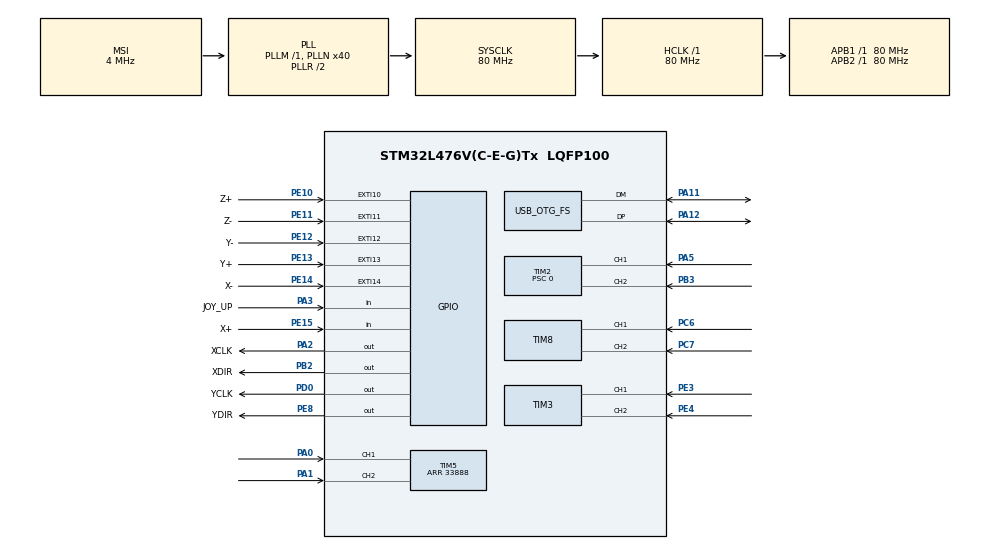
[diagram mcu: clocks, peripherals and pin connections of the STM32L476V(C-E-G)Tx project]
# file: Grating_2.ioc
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Mcu.Family=STM32L4
USB_DEVICE.CLASS_NAME_FS=CDC
RCC.CortexFreq_Value=80000000
PH0-OSC_IN\ (PH0).Signal=RCC_OSC_IN
PE11.GPIO_Label=Z-
TIM5.EncoderMode=TIM_ENCODERMODE_TI12
PE8.GPIO_PuPd=GPIO_NOPULL
PA3.GPIO_PuPd=GPIO_PULLDOWN
PB2.GPIO_Speed=GPIO_SPEED_FREQ_VERY_HIGH
PB7.GPIO_FM7=I2C_FASTMODEPLUS_PB7
SH.S_TIM5_CH2.0=TIM5_CH2,Encoder_Interface
PA2.GPIO_Speed=GPIO_SPEED_FREQ_VERY_HIGH
PD0.GPIO_Label=YCLK
PA11.Mode=Device_Only
TIM2.EncoderMode=TIM_ENCODERMODE_TI12
RCC.SYSCLKSource=RCC_SYSCLKSOURCE_PLLCLK
ProjectManager.StackSize=0x400
PB3\ (JTDO-TRACESWO).Signal=S_TIM2_CH2
VP_FREERTOS_VS_CMSIS_V2.Mode=CMSIS_V2
PA14\ (JTCK-SWCLK).Signal=SYS_JTCK-SWCLK
PA12.Signal=USB_OTG_FS_DP
TIM1.Prescaler=79
RCC.HCLKFreq_Value=80000000
RCC.APB2TimFreq_Value=80000000
PB6.Signal=S_TIM4_CH1
PC7.Signal=S_TIM8_CH2
PD0.Signal=GPIO_Output
RCC.AHBFreq_Value=80000000
NVIC.EXTI15_10_IRQn=true\:5\:0\:false\:false\:true\:true\:true\:true
PH1-OSC_OUT\ (PH1).Mode=HSE-External-Oscillator
RCC.HSE_VALUE=8000000
PB2.Signal=GPIO_Output
NVIC.TIM1_TRG_COM_TIM17_IRQn=true\:5\:0\:false\:false\:true\:true\:true\:true
PE13.Signal=GPXTI13
NVIC.TIM2_IRQn=true\:5\:0\:false\:false\:true\:true\:true\:true
SH.S_TIM4_CH2.0=TIM4_CH2
PB7.Signal=S_TIM4_CH2
SH.S_TIM3_CH1.0=TIM3_CH1,Encoder_Interface
PE12.GPIO_ModeDefaultEXTI=GPIO_MODE_IT_RISING_FALLING
PE10.Signal=GPXTI10
PE4.Signal=S_TIM3_CH2
PB2.GPIO_PuPd=GPIO_NOPULL
VP_TIM1_VS_ClockSourceINT.Mode=Internal
PA0.Signal=S_TIM5_CH1
Mcu.Package=LQFP100
TIM2.Prescaler=0
PB6.GPIO_FM6=__NULL
NVIC.OTG_FS_IRQn=true\:5\:0\:false\:false\:true\:true\:true\:true
PA2.GPIO_Label=XCLK
USB_OTG_FS.VirtualMode=Device_Only
PE12.GPIO_Label=Y-
PE8.GPIO_Speed=GPIO_SPEED_FREQ_VERY_HIGH
SH.S_TIM4_CH1.0=TIM4_CH1
RCC.APB1TimFreq_Value=80000000
SH.S_TIM5_CH1.0=TIM5_CH1,Encoder_Interface
TIM1.Period=49
PA13\ (JTMS-SWDIO).Signal=SYS_JTMS-SWDIO
PE10.GPIO_Label=Z+
PH0-OSC_IN\ (PH0).Mode=HSE-External-Oscillator
RCC.PLLSAI1N=24
PA3.Signal=GPIO_Input
RCC.MSI_VALUE=4000000
PA14\ (JTCK-SWCLK).Mode=Serial_Wire
SH.S_TIM2_CH1.0=TIM2_CH1,Encoder_Interface
FREERTOS.Tasks01=defaultTask,24,128,StartDefaultTask,Default,NULL,Dynamic,NULL,NULL;myTask02,8,128,StartTask02,Default,NULL,Dynamic,NULL,NULL;myTask03,8,128,StartTask03,Default,NULL,Dynamic,NULL,NULL
USB_DEVICE.VirtualModeFS=Cdc_FS
PC6.Signal=S_TIM8_CH1
PE14.GPIO_Label=X-
SH.S_TIM8_CH2.0=TIM8_CH2,Encoder_Interface
PH1-OSC_OUT\ (PH1).Signal=RCC_OSC_OUT
TIM5.AutoReloadPreload=TIM_AUTORELOAD_PRELOAD_ENABLE
PD0.GPIO_Speed=GPIO_SPEED_FREQ_VERY_HIGH
TIM1.AutoReloadPreload=TIM_AUTORELOAD_PRELOAD_ENABLE
SH.S_TIM2_CH2.0=TIM2_CH2,Encoder_Interface
PE11.GPIO_ModeDefaultEXTI=GPIO_MODE_IT_RISING_FALLING
PE10.GPIO_ModeDefaultEXTI=GPIO_MODE_IT_RISING_FALLING
PE15.GPIO_Label=X+
ProjectManager.TargetToolchain=STM32CubeIDE
VP_USB_DEVICE_VS_USB_DEVICE_CDC_FS.Mode=CDC_FS
PE8.GPIO_Label=YDIR
RCC.USBFreq_Value=48000000
PE11.Signal=GPXTI11
RCC.LSE_VALUE=32768
PA1.Signal=S_TIM5_CH2
PA5.Signal=S_TIM2_CH1
SH.S_TIM3_CH2.0=TIM3_CH2,Encoder_Interface
SH.S_TIM8_CH1.0=TIM8_CH1,Encoder_Interface
NVIC.TIM1_BRK_TIM15_IRQn=true\:5\:0\:false\:false\:true\:true\:true\:true
board=custom
RCC.VCOOutputFreq_Value=160000000
PE13.GPIO_ModeDefaultEXTI=GPIO_MODE_IT_RISING_FALLING
RCC.APB2Freq_Value=80000000
PE14.Signal=GPXTI14
PE15.Signal=GPIO_Input
PE8.Signal=GPIO_Output
RCC.ADCFreq_Value=48000000
TIM2.Period=33888
Mcu.Name=STM32L476V(C-E-G)Tx
PE12.Signal=GPXTI12
PA2.Signal=GPIO_Output
PA13\ (JTMS-SWDIO).Mode=Serial_Wire
RCC.SYSCLKFreq_VALUE=80000000
PE13.GPIO_Label=Y+
PA12.Mode=Device_Only
PA11.Signal=USB_OTG_FS_DM
PB2.GPIO_Label=XDIR
PE15.GPIO_PuPd=GPIO_NOPULL
ProjectManager.HeapSize=0x200
RCC.HSI_VALUE=16000000
NVIC.TIM1_UP_TIM16_IRQn=true\:5\:0\:false\:false\:true\:true\:true\:true
NVIC.PriorityGroup=NVIC_PRIORITYGROUP_4
RCC.PLLN=40
PE3.Signal=S_TIM3_CH1
TIM2.AutoReloadPreload=TIM_AUTORELOAD_PRELOAD_ENABLE
TIM5.Period=33888
RCC.APB1Freq_Value=80000000
USB_DEVICE.VirtualMode=Cdc
PA3.GPIO_Label=JOY_UP

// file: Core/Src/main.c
/* USER CODE BEGIN Header */
/**
  ******************************************************************************
  * @file           : main.c
  * @brief          : Main program body
  ******************************************************************************
  * @attention
  *
  * <h2><center>&copy; Copyright (c) 2021 STMicroelectronics.
  * All rights reserved.</center></h2>
  *
  * This software component is licensed by ST under BSD 3-Clause license,
  * the "License"; You may not use this file except in compliance with the
  * License. You may obtain a copy of the License at:
  *                        opensource.org/licenses/BSD-3-Clause
  *
  ******************************************************************************
  */
/* USER CODE END Header */
#include "main.h"
#include "cmsis_os.h"
#include "usb_device.h"

/* USER CODE BEGIN Includes */
#include "usbd_cdc_if.h"
#include "string.h"
/* USER CODE END Includes */

TIM_HandleTypeDef htim1;
TIM_HandleTypeDef htim2;
TIM_HandleTypeDef htim3;
TIM_HandleTypeDef htim5;
TIM_HandleTypeDef htim8;

/* Definitions for defaultTask */
osThreadId_t defaultTaskHandle;
const osThreadAttr_t defaultTask_attributes = {
  .name = "defaultTask",
  .stack_size = 128 * 4,
  .priority = (osPriority_t) osPriorityNormal,
};
/* Definitions for myTask02 */
osThreadId_t myTask02Handle;
const osThreadAttr_t myTask02_attributes = {
  .name = "myTask02",
  .stack_size = 128 * 4,
  .priority = (osPriority_t) osPriorityLow,
};
/* Definitions for myTask03 */
osThreadId_t myTask03Handle;
const osThreadAttr_t myTask03_attributes = {
  .name = "myTask03",
  .stack_size = 128 * 4,
  .priority = (osPriority_t) osPriorityLow,
};
/* USER CODE BEGIN PV */
int cnt,cnt_old ;
int tim4Cnt,tim5Cnt,tim2Cnt;
int feedback;
int laps=0;
uint8_t Xpos,Xneg,Ypos,Yneg,Zpos,Zneg;

extern volatile int32_t xPul;
extern volatile int32_t yPul;
extern uint8_t xSpeed, ySpeed;
extern uint8_t xSen;
extern uint8_t ySen;
int highMode = 0;
uint32_t rxbuf[32];
int spin=0;
int solder_push=0;
int16_t push_length=0;
int16_t spin_length=0;
int grating_scale_1=0;
int grating_scale_2=0;
int PGsend;
size_t k = 99;
uint8_t opbuff[8];
/* USER CODE END PV */

void SystemClock_Config(void);
static void MX_GPIO_Init(void);
static void MX_TIM1_Init(void);
static void MX_TIM5_Init(void);
static void MX_TIM2_Init(void);
static void MX_TIM8_Init(void);
static void MX_TIM3_Init(void);
void StartDefaultTask(void *argument);
void StartTask02(void *argument);
void StartTask03(void *argument);

/* USER CODE BEGIN 0 */
uint16_t CRCcalc(uint8_t* ptr, uint32_t len)
{
 uint32_t i;
 uint16_t crc = 0xFFFF;  //crc16位寄存器初始�?

 while (len--)
 {
  crc ^= *ptr++;
  for (i = 0; i < 8; ++i)
  {
   if (crc & 1)
    crc = (crc >> 1) ^ 0xA001; //多项�? POLY�?0x8005)的高低位交换值，这是由于其模型的�?些参数决定的
   else
    crc = (crc >> 1);
  }
 }

 return crc;
}
/* USER CODE END 0 */

int main(void)
{

  /* MCU Configuration--------------------------------------------------------*/

  /* Reset of all peripherals, Initializes the Flash interface and the Systick. */
  HAL_Init();

  /* Configure the system clock */
  SystemClock_Config();

  /* Initialize all configured peripherals */
  MX_GPIO_Init();
  MX_TIM1_Init();
  MX_TIM5_Init();
  MX_TIM2_Init();
  MX_TIM8_Init();
  MX_TIM3_Init();
  /* USER CODE BEGIN 2 */

  HAL_TIM_Encoder_Start(&htim5, TIM_CHANNEL_ALL);
  HAL_GPIO_WritePin(GPIOB, GPIO_PIN_2,GPIO_PIN_SET);
  HAL_GPIO_WritePin(GPIOE, GPIO_PIN_8,GPIO_PIN_SET);
  HAL_TIM_Base_Start_IT(&htim1);
  HAL_TIM_Base_Start_IT(&htim2);

  TIM5->CNT=750000;
  TIM2->CNT=750000;

  //initiate USB
  MX_USB_DEVICE_Init();

  /* USER CODE END 2 */

  /* Init scheduler */
  osKernelInitialize();

  /* Create the thread(s) */
  /* creation of defaultTask */
  defaultTaskHandle = osThreadNew(StartDefaultTask, NULL, &defaultTask_attributes);

  /* creation of myTask02 */
  myTask02Handle = osThreadNew(StartTask02, NULL, &myTask02_attributes);

  /* creation of myTask03 */
  myTask03Handle = osThreadNew(StartTask03, NULL, &myTask03_attributes);

  /* Start scheduler */
  osKernelStart();

  /* We should never get here as control is now taken by the scheduler */
  /* Infinite loop */
  /* USER CODE BEGIN WHILE */

  while (1)
  {
// LED light:
//	  HAL_GPIO_TogglePin(GPIOB, GPIO_PIN_2);
//
//	  HAL_GPIO_TogglePin(GPIOE, GPIO_PIN_8);

    /* USER CODE END WHILE */

    /* USER CODE BEGIN 3 */

	  //HAL_Delay(10);
  }
  /* USER CODE END 3 */
}

void SystemClock_Config(void)
{
  RCC_OscInitTypeDef RCC_OscInitStruct = {0};
  RCC_ClkInitTypeDef RCC_ClkInitStruct = {0};
  RCC_PeriphCLKInitTypeDef PeriphClkInit = {0};

  /** Initializes the RCC Oscillators according to the specified parameters
  * in the RCC_OscInitTypeDef structure.
  */
  RCC_OscInitStruct.OscillatorType = RCC_OSCILLATORTYPE_MSI;
  RCC_OscInitStruct.MSIState = RCC_MSI_ON;
  RCC_OscInitStruct.MSICalibrationValue = 0;
  RCC_OscInitStruct.MSIClockRange = RCC_MSIRANGE_6;
  RCC_OscInitStruct.PLL.PLLState = RCC_PLL_ON;
  RCC_OscInitStruct.PLL.PLLSource = RCC_PLLSOURCE_MSI;
  RCC_OscInitStruct.PLL.PLLM = 1;
  RCC_OscInitStruct.PLL.PLLN = 40;
  RCC_OscInitStruct.PLL.PLLP = RCC_PLLP_DIV7;
  RCC_OscInitStruct.PLL.PLLQ = RCC_PLLQ_DIV2;
  RCC_OscInitStruct.PLL.PLLR = RCC_PLLR_DIV2;
  if (HAL_RCC_OscConfig(&RCC_OscInitStruct) != HAL_OK)
  {
    Error_Handler();
  }
  /** Initializes the CPU, AHB and APB buses clocks
  */
  RCC_ClkInitStruct.ClockType = RCC_CLOCKTYPE_HCLK|RCC_CLOCKTYPE_SYSCLK
                              |RCC_CLOCKTYPE_PCLK1|RCC_CLOCKTYPE_PCLK2;
  RCC_ClkInitStruct.SYSCLKSource = RCC_SYSCLKSOURCE_PLLCLK;
  RCC_ClkInitStruct.AHBCLKDivider = RCC_SYSCLK_DIV1;
  RCC_ClkInitStruct.APB1CLKDivider = RCC_HCLK_DIV1;
  RCC_ClkInitStruct.APB2CLKDivider = RCC_HCLK_DIV1;

  if (HAL_RCC_ClockConfig(&RCC_ClkInitStruct, FLASH_LATENCY_4) != HAL_OK)
  {
    Error_Handler();
  }
  PeriphClkInit.PeriphClockSelection = RCC_PERIPHCLK_USB;
  PeriphClkInit.UsbClockSelection = RCC_USBCLKSOURCE_PLLSAI1;
  PeriphClkInit.PLLSAI1.PLLSAI1Source = RCC_PLLSOURCE_MSI;
  PeriphClkInit.PLLSAI1.PLLSAI1M = 1;
  PeriphClkInit.PLLSAI1.PLLSAI1N = 24;
  PeriphClkInit.PLLSAI1.PLLSAI1P = RCC_PLLP_DIV7;
  PeriphClkInit.PLLSAI1.PLLSAI1Q = RCC_PLLQ_DIV2;
  PeriphClkInit.PLLSAI1.PLLSAI1R = RCC_PLLR_DIV2;
  PeriphClkInit.PLLSAI1.PLLSAI1ClockOut = RCC_PLLSAI1_48M2CLK;
  if (HAL_RCCEx_PeriphCLKConfig(&PeriphClkInit) != HAL_OK)
  {
    Error_Handler();
  }
  /** Configure the main internal regulator output voltage
  */
  if (HAL_PWREx_ControlVoltageScaling(PWR_REGULATOR_VOLTAGE_SCALE1) != HAL_OK)
  {
    Error_Handler();
  }
}

static void MX_TIM1_Init(void)
{

  TIM_ClockConfigTypeDef sClockSourceConfig = {0};
  TIM_MasterConfigTypeDef sMasterConfig = {0};

  htim1.Instance = TIM1;
  htim1.Init.Prescaler = 79;
  htim1.Init.CounterMode = TIM_COUNTERMODE_UP;
  htim1.Init.Period = 49;
  htim1.Init.ClockDivision = TIM_CLOCKDIVISION_DIV1;
  htim1.Init.RepetitionCounter = 0;
  htim1.Init.AutoReloadPreload = TIM_AUTORELOAD_PRELOAD_ENABLE;
  if (HAL_TIM_Base_Init(&htim1) != HAL_OK)
  {
    Error_Handler();
  }
  sClockSourceConfig.ClockSource = TIM_CLOCKSOURCE_INTERNAL;
  if (HAL_TIM_ConfigClockSource(&htim1, &sClockSourceConfig) != HAL_OK)
  {
    Error_Handler();
  }
  sMasterConfig.MasterOutputTrigger = TIM_TRGO_RESET;
  sMasterConfig.MasterOutputTrigger2 = TIM_TRGO2_RESET;
  sMasterConfig.MasterSlaveMode = TIM_MASTERSLAVEMODE_DISABLE;
  if (HAL_TIMEx_MasterConfigSynchronization(&htim1, &sMasterConfig) != HAL_OK)
  {
    Error_Handler();
  }

}

static void MX_TIM2_Init(void)
{

  TIM_Encoder_InitTypeDef sConfig = {0};
  TIM_MasterConfigTypeDef sMasterConfig = {0};

  htim2.Instance = TIM2;
  htim2.Init.Prescaler = 0;
  htim2.Init.CounterMode = TIM_COUNTERMODE_UP;
  htim2.Init.Period = 33888;
  htim2.Init.ClockDivision = TIM_CLOCKDIVISION_DIV1;
  htim2.Init.AutoReloadPreload = TIM_AUTORELOAD_PRELOAD_ENABLE;
  sConfig.EncoderMode = TIM_ENCODERMODE_TI12;
  sConfig.IC1Polarity = TIM_ICPOLARITY_RISING;
  sConfig.IC1Selection = TIM_ICSELECTION_DIRECTTI;
  sConfig.IC1Prescaler = TIM_ICPSC_DIV1;
  sConfig.IC1Filter = 0;
  sConfig.IC2Polarity = TIM_ICPOLARITY_RISING;
  sConfig.IC2Selection = TIM_ICSELECTION_DIRECTTI;
  sConfig.IC2Prescaler = TIM_ICPSC_DIV1;
  sConfig.IC2Filter = 0;
  if (HAL_TIM_Encoder_Init(&htim2, &sConfig) != HAL_OK)
  {
    Error_Handler();
  }
  sMasterConfig.MasterOutputTrigger = TIM_TRGO_RESET;
  sMasterConfig.MasterSlaveMode = TIM_MASTERSLAVEMODE_DISABLE;
  if (HAL_TIMEx_MasterConfigSynchronization(&htim2, &sMasterConfig) != HAL_OK)
  {
    Error_Handler();
  }

}

static void MX_TIM3_Init(void)
{

  TIM_Encoder_InitTypeDef sConfig = {0};
  TIM_MasterConfigTypeDef sMasterConfig = {0};

  htim3.Instance = TIM3;
  htim3.Init.Prescaler = 0;
  htim3.Init.CounterMode = TIM_COUNTERMODE_UP;
  htim3.Init.Period = 65535;
  htim3.Init.ClockDivision = TIM_CLOCKDIVISION_DIV1;
  htim3.Init.AutoReloadPreload = TIM_AUTORELOAD_PRELOAD_DISABLE;
  sConfig.EncoderMode = TIM_ENCODERMODE_TI1;
  sConfig.IC1Polarity = TIM_ICPOLARITY_RISING;
  sConfig.IC1Selection = TIM_ICSELECTION_DIRECTTI;
  sConfig.IC1Prescaler = TIM_ICPSC_DIV1;
  sConfig.IC1Filter = 0;
  sConfig.IC2Polarity = TIM_ICPOLARITY_RISING;
  sConfig.IC2Selection = TIM_ICSELECTION_DIRECTTI;
  sConfig.IC2Prescaler = TIM_ICPSC_DIV1;
  sConfig.IC2Filter = 0;
  if (HAL_TIM_Encoder_Init(&htim3, &sConfig) != HAL_OK)
  {
    Error_Handler();
  }
  sMasterConfig.MasterOutputTrigger = TIM_TRGO_RESET;
  sMasterConfig.MasterSlaveMode = TIM_MASTERSLAVEMODE_DISABLE;
  if (HAL_TIMEx_MasterConfigSynchronization(&htim3, &sMasterConfig) != HAL_OK)
  {
    Error_Handler();
  }

}

static void MX_TIM5_Init(void)
{

  TIM_Encoder_InitTypeDef sConfig = {0};
  TIM_MasterConfigTypeDef sMasterConfig = {0};

  htim5.Instance = TIM5;
  htim5.Init.Prescaler = 0;
  htim5.Init.CounterMode = TIM_COUNTERMODE_UP;
  htim5.Init.Period = 33888;
  htim5.Init.ClockDivision = TIM_CLOCKDIVISION_DIV1;
  htim5.Init.AutoReloadPreload = TIM_AUTORELOAD_PRELOAD_ENABLE;
  sConfig.EncoderMode = TIM_ENCODERMODE_TI12;
  sConfig.IC1Polarity = TIM_ICPOLARITY_RISING;
  sConfig.IC1Selection = TIM_ICSELECTION_DIRECTTI;
  sConfig.IC1Prescaler = TIM_ICPSC_DIV1;
  sConfig.IC1Filter = 0;
  sConfig.IC2Polarity = TIM_ICPOLARITY_RISING;
  sConfig.IC2Selection = TIM_ICSELECTION_DIRECTTI;
  sConfig.IC2Prescaler = TIM_ICPSC_DIV1;
  sConfig.IC2Filter = 0;
  if (HAL_TIM_Encoder_Init(&htim5, &sConfig) != HAL_OK)
  {
    Error_Handler();
  }
  sMasterConfig.MasterOutputTrigger = TIM_TRGO_RESET;
  sMasterConfig.MasterSlaveMode = TIM_MASTERSLAVEMODE_DISABLE;
  if (HAL_TIMEx_MasterConfigSynchronization(&htim5, &sMasterConfig) != HAL_OK)
  {
    Error_Handler();
  }

}

static void MX_TIM8_Init(void)
{

  TIM_Encoder_InitTypeDef sConfig = {0};
  TIM_MasterConfigTypeDef sMasterConfig = {0};

  htim8.Instance = TIM8;
  htim8.Init.Prescaler = 0;
  htim8.Init.CounterMode = TIM_COUNTERMODE_UP;
  htim8.Init.Period = 65535;
  htim8.Init.ClockDivision = TIM_CLOCKDIVISION_DIV1;
  htim8.Init.RepetitionCounter = 0;
  htim8.Init.AutoReloadPreload = TIM_AUTORELOAD_PRELOAD_DISABLE;
  sConfig.EncoderMode = TIM_ENCODERMODE_TI1;
  sConfig.IC1Polarity = TIM_ICPOLARITY_RISING;
  sConfig.IC1Selection = TIM_ICSELECTION_DIRECTTI;
  sConfig.IC1Prescaler = TIM_ICPSC_DIV1;
  sConfig.IC1Filter = 0;
  sConfig.IC2Polarity = TIM_ICPOLARITY_RISING;
  sConfig.IC2Selection = TIM_ICSELECTION_DIRECTTI;
  sConfig.IC2Prescaler = TIM_ICPSC_DIV1;
  sConfig.IC2Filter = 0;
  if (HAL_TIM_Encoder_Init(&htim8, &sConfig) != HAL_OK)
  {
    Error_Handler();
  }
  sMasterConfig.MasterOutputTrigger = TIM_TRGO_RESET;
  sMasterConfig.MasterOutputTrigger2 = TIM_TRGO2_RESET;
  sMasterConfig.MasterSlaveMode = TIM_MASTERSLAVEMODE_DISABLE;
  if (HAL_TIMEx_MasterConfigSynchronization(&htim8, &sMasterConfig) != HAL_OK)
  {
    Error_Handler();
  }

}

static void MX_GPIO_Init(void)
{
  GPIO_InitTypeDef GPIO_InitStruct = {0};

  /* GPIO Ports Clock Enable */
  __HAL_RCC_GPIOE_CLK_ENABLE();
  __HAL_RCC_GPIOH_CLK_ENABLE();
  __HAL_RCC_GPIOA_CLK_ENABLE();
  __HAL_RCC_GPIOB_CLK_ENABLE();
  __HAL_RCC_GPIOC_CLK_ENABLE();
  __HAL_RCC_GPIOD_CLK_ENABLE();

  /*Configure GPIO pin Output Level */
  HAL_GPIO_WritePin(XCLK_GPIO_Port, XCLK_Pin, GPIO_PIN_RESET);

  /*Configure GPIO pin Output Level */
  HAL_GPIO_WritePin(XDIR_GPIO_Port, XDIR_Pin, GPIO_PIN_RESET);

  /*Configure GPIO pin Output Level */
  HAL_GPIO_WritePin(YDIR_GPIO_Port, YDIR_Pin, GPIO_PIN_RESET);

  /*Configure GPIO pin Output Level */
  HAL_GPIO_WritePin(YCLK_GPIO_Port, YCLK_Pin, GPIO_PIN_RESET);

  /*Configure GPIO pin : XCLK_Pin */
  GPIO_InitStruct.Pin = XCLK_Pin;
  GPIO_InitStruct.Mode = GPIO_MODE_OUTPUT_PP;
  GPIO_InitStruct.Pull = GPIO_NOPULL;
  GPIO_InitStruct.Speed = GPIO_SPEED_FREQ_VERY_HIGH;
  HAL_GPIO_Init(XCLK_GPIO_Port, &GPIO_InitStruct);

  /*Configure GPIO pin : JOY_UP_Pin */
  GPIO_InitStruct.Pin = JOY_UP_Pin;
  GPIO_InitStruct.Mode = GPIO_MODE_INPUT;
  GPIO_InitStruct.Pull = GPIO_PULLDOWN;
  HAL_GPIO_Init(JOY_UP_GPIO_Port, &GPIO_InitStruct);

  /*Configure GPIO pin : XDIR_Pin */
  GPIO_InitStruct.Pin = XDIR_Pin;
  GPIO_InitStruct.Mode = GPIO_MODE_OUTPUT_PP;
  GPIO_InitStruct.Pull = GPIO_NOPULL;
  GPIO_InitStruct.Speed = GPIO_SPEED_FREQ_VERY_HIGH;
  HAL_GPIO_Init(XDIR_GPIO_Port, &GPIO_InitStruct);

  /*Configure GPIO pin : YDIR_Pin */
  GPIO_InitStruct.Pin = YDIR_Pin;
  GPIO_InitStruct.Mode = GPIO_MODE_OUTPUT_PP;
  GPIO_InitStruct.Pull = GPIO_NOPULL;
  GPIO_InitStruct.Speed = GPIO_SPEED_FREQ_VERY_HIGH;
  HAL_GPIO_Init(YDIR_GPIO_Port, &GPIO_InitStruct);

  /*Configure GPIO pins : Z__Pin Z_E11_Pin Y__Pin Y_E13_Pin */
  GPIO_InitStruct.Pin = Z__Pin|Z_E11_Pin|Y__Pin|Y_E13_Pin;
  GPIO_InitStruct.Mode = GPIO_MODE_IT_RISING_FALLING;
  GPIO_InitStruct.Pull = GPIO_NOPULL;
  HAL_GPIO_Init(GPIOE, &GPIO_InitStruct);

  /*Configure GPIO pin : X__Pin */
  GPIO_InitStruct.Pin = X__Pin;
  GPIO_InitStruct.Mode = GPIO_MODE_IT_RISING;
  GPIO_InitStruct.Pull = GPIO_NOPULL;
  HAL_GPIO_Init(X__GPIO_Port, &GPIO_InitStruct);

  /*Configure GPIO pin : X_E15_Pin */
  GPIO_InitStruct.Pin = X_E15_Pin;
  GPIO_InitStruct.Mode = GPIO_MODE_INPUT;
  GPIO_InitStruct.Pull = GPIO_NOPULL;
  HAL_GPIO_Init(X_E15_GPIO_Port, &GPIO_InitStruct);

  /*Configure GPIO pin : YCLK_Pin */
  GPIO_InitStruct.Pin = YCLK_Pin;
  GPIO_InitStruct.Mode = GPIO_MODE_OUTPUT_PP;
  GPIO_InitStruct.Pull = GPIO_NOPULL;
  GPIO_InitStruct.Speed = GPIO_SPEED_FREQ_VERY_HIGH;
  HAL_GPIO_Init(YCLK_GPIO_Port, &GPIO_InitStruct);

  /*Configure GPIO pins : PB6 PB7 */
  GPIO_InitStruct.Pin = GPIO_PIN_6|GPIO_PIN_7;
  GPIO_InitStruct.Mode = GPIO_MODE_AF_PP;
  GPIO_InitStruct.Pull = GPIO_NOPULL;
  GPIO_InitStruct.Speed = GPIO_SPEED_FREQ_LOW;
  GPIO_InitStruct.Alternate = GPIO_AF2_TIM4;
  HAL_GPIO_Init(GPIOB, &GPIO_InitStruct);

  /**/
  HAL_I2CEx_EnableFastModePlus(I2C_FASTMODEPLUS_PB7);

  /* EXTI interrupt init*/
  HAL_NVIC_SetPriority(EXTI15_10_IRQn, 5, 0);
  HAL_NVIC_EnableIRQ(EXTI15_10_IRQn);

}

/* USER CODE BEGIN 4 */
void HAL_TIM_PeriodElapsedCallback(TIM_HandleTypeDef *htim)
{
	if(htim->Instance == htim1.Instance)
		{

		}

	if(htim->Instance == htim2.Instance){

		 cnt=__HAL_TIM_GET_COUNTER(&htim5)-750000;

//		   if (	(	(cnt)<=(htim5.Init.Period)*0.5	)		&&
//		 		( 	(cnt)>=0 	)			&&
//		 		(	cnt_old<=(htim5.Init.Period)	)			&&
//		 		(	cnt_old>=(htim5.Init.Period)*0.5	)
//		 		  	  )
//		   {
//
//		 	  laps++;
//		   }
//		   else  if 	(	(	(cnt)<=	(htim5.Init.Period))		&&
//		 			( 	(cnt)>=	(htim5.Init.Period)*0.5	)			&&
//		 			(	cnt_old<=	(htim5.Init.Period)*0.5	)			&&
//		 			(	cnt_old>=0	)
//		 			  	  )
//		   {
//
//		 	  laps--;
//		   }
//
//		   cnt_old=TIM5->CNT;

			 			 			feedback=(laps*htim5.Init.Period)+cnt;
	}

}
//  if (	(	(TIM5->CNT)<=(5)	)		&&
//		( 	(TIM5->CNT)>=0 	)			&&
//		(	cnt_old<=(10)	)			&&
//		(	cnt_old>=(5)	)
//		  	  )
//  {
//
//	  laps++;
//  }
//  else  if 	(	(	(TIM5->CNT)<=	(10)	)		&&
//			( 	(TIM5->CNT)>=	(5) 	)			&&
//			(	cnt_old<=	(5)	)			&&
//			(	cnt_old>=0	)
//			  	  )
//  {
//
//	  laps--;
//  }
//  cnt_old=TIM5->CNT;

void CDC_ReceiveCallback(uint8_t *buf, uint32_t len)
{
	  for (int i=0;i<=16;i++)
	  {
		 rxbuf[i]=buf[i];
	  }
	  k=0;
}

/* USER CODE END 4 */

void StartDefaultTask(void *argument)
{
  /* init code for USB_DEVICE */
  MX_USB_DEVICE_Init();
  /* USER CODE BEGIN 5 */
  /* Infinite loop */
  for(;;)
  {
	  if (HAL_GPIO_ReadPin(GPIOE, GPIO_PIN_15)==GPIO_PIN_RESET){
		  	  Xpos=0;
	 	  }
	 	  else {
	 		  Xpos=1;
	 	  }
	 	  if (HAL_GPIO_ReadPin(GPIOE, GPIO_PIN_14)==GPIO_PIN_RESET){
	 		  Xneg=0;
	 	  }
	 	  else  {
	 		  Xneg=1;
	 	  }
		  if (HAL_GPIO_ReadPin(GPIOE, GPIO_PIN_13)==GPIO_PIN_RESET){
			  Ypos=0;
		 	  }
		 	  else {
		 	 Ypos=1;
		 	  }
	 if (HAL_GPIO_ReadPin(GPIOE, GPIO_PIN_12)==GPIO_PIN_RESET){
		 	 Yneg=0;
		 	  }
		 	  else  {
		 	 Yneg=1;
		 	  }

	  if (HAL_GPIO_ReadPin(GPIOE, GPIO_PIN_10)==GPIO_PIN_RESET){
		  	 Zpos=0;
	 	  }
	 	  else {
	 		 Zpos=1;
	 	  }

	  if (HAL_GPIO_ReadPin(GPIOE, GPIO_PIN_11)==GPIO_PIN_RESET){
		  	  Zneg=0;
	 	  }
	 	  else  {
	 		 Zneg=1;
	 	  }

	 	  if(highMode>1) {
		 	    xSpeed = 250U;
		       ySpeed = 250U;
		       xSen = 2U;
		       ySen = 2U;
		       highMode = 1;
	 	  }else if (highMode < 1) {

	 	    xSpeed = 50U;
	 	    ySpeed = 50U;
	 	    xSen = 10U;
	 	    ySen = 10U;
	 	    highMode = 1;
	 	  }

	 	  if(HAL_GPIO_ReadPin(JOY_UP_GPIO_Port, JOY_UP_Pin) == GPIO_PIN_SET)
	 	      {
	 	  	    xPul = -(xSen);
	 	      }
//	 	  else if (HAL_GPIO_ReadPin(JOY_DOWN_GPIO_Port, JOY_DOWN_Pin) == GPIO_PIN_SET)
//	 	      {
//	 	        xPul = (xSen);
//	 	      }
	 	  if (HAL_GPIO_ReadPin(JOY_UP_GPIO_Port, JOY_UP_Pin) == GPIO_PIN_SET)
	 	  {
	 		  yPul = ySen;
	 	  }
//	 	  else if (HAL_GPIO_ReadPin(JOY_DOWN_GPIO_Port, JOY_DOWN_Pin) == GPIO_PIN_SET)
//	 	  {
//	 		  yPul = -ySen;
//	 	  }
    osDelay(1);
  }
  /* USER CODE END 5 */
}

void StartTask02(void *argument)
{
  /* USER CODE BEGIN StartTask02 */
	int rec_state=0;

	  int read,control;
#define START 0
#define CMD 1
#define ADDRESS 2
#define DATA 3
#define CRC8 4

//	  if(buf[0]== 0X22)
//	  {
//	  *(int32_t*)&(opbuff[0]) = TIM5->CNT;
//
//	  opbuff[3] =(Xpos<<0)	+	(Xneg<<1)	+	(Ypos<<2)	+	(Yneg<<3)	+ 	(Zpos<<4)	+	(Zneg<<5);
//
//
//	  CDC_Transmit_FS(&opbuff[0], sizeof(int32_t));
//	  }
//
//	  else{
//		  opbuff[0]=0xFF;
//		  opbuff[1]=0xFF;
//		  opbuff[2]=0xFF;
//		  opbuff[3]=0xFF;
//		  CDC_Transmit_FS(&opbuff[0], sizeof(int32_t));
//	  }

  /* Infinite loop */
  for(;;)
  {
	  tim2Cnt=__HAL_TIM_GET_COUNTER(&htim2);
	  tim5Cnt=__HAL_TIM_GET_COUNTER(&htim5);

	  read=0;
	  control=0;

	  while (k < 16)
	  {
		  uint8_t ch = rxbuf[k];
		  switch (rec_state)
		  {
		  case START:
			  if (ch==0x22)
			  {
				  rec_state=CMD;
			  }
			  break;
		  case CMD:
			  if (ch==0x30)
			  {
				  rec_state=ADDRESS;
				  read=1;
			  }
			  else if (ch==0x66)
			  {
				  rec_state=ADDRESS;
				  control=1;
			  }
			  else
			  {
				  rec_state=START;
			  }
			  break;
		  case ADDRESS:
			  if(ch==0x00)
			  {
				  rec_state=DATA;
				  grating_scale_1=1;
			  }
			  else if (ch==0x01)
			  {
				  rec_state=DATA;
				  grating_scale_2=1;
			  }
			  else if (ch==0x02)
			  {
				  rec_state=DATA;
				  PGsend=1;
			  }
			  else if (ch==0x03)
			  {
				  rec_state=DATA;
				  spin=1;
			  }
			  else if (ch==0x04)
			  {
				  rec_state=DATA;
				  solder_push=1;
			  }
			  else
			  {
				  rec_state=START;
			  }
			  break;

		  case DATA:

			  if(	(read==1)	&&	(grating_scale_1==1)	)
			  {
				  opbuff[0]=0x22;
				  opbuff[1]=0x30;
				  opbuff[2]=0x00;
				  *(int32_t*)&(opbuff[3]) = TIM5->CNT;

				  unsigned short crc = CRCcalc(opbuff,6);
				 *(int16_t*)&(opbuff[6]) = crc;
				  CDC_Transmit_FS(&opbuff[0], 8);
			  }
			  else if(	(read==1)	&&	(grating_scale_2==1)	)
			  {
				  opbuff[0]=0x22;
				  opbuff[1]=0x30;
				  opbuff[2]=0x01;
				  *(int32_t*)&(opbuff[3]) = TIM2->CNT;
				  unsigned short crc= CRCcalc(opbuff,6);
				 *(int16_t*)&(opbuff[6]) = crc;
				  CDC_Transmit_FS(&opbuff[0], 8);
			  }
			  else if(	(control==1)	&&	(grating_scale_1==1)	)
			  {
				  TIM5->CNT=750000;
				  opbuff[0]=0x22;
				  opbuff[1]=0x66;
				  opbuff[2]=0x00;
				  opbuff[3]=0x00; opbuff[4]=0x00; opbuff[5]=0x00; opbuff[6]=0x00; opbuff[7]=0x00;
				  unsigned short crc= CRCcalc(opbuff,6);
				 *(int16_t*)&(opbuff[6]) = crc;
				  CDC_Transmit_FS(&opbuff[0], 8);

			  }
			  else if(	(control==1)	&&	(grating_scale_2==1)	)
			  {
				  TIM2->CNT=750000;
				  opbuff[0]=0x22;
				  opbuff[1]=0x66;
				  opbuff[2]=0x01;
				  opbuff[3]=0x00; opbuff[4]=0x00; opbuff[5]=0x00; opbuff[6]=0x00; opbuff[7]=0x00;
				  unsigned short crc= CRCcalc(opbuff,6);
				 *(int16_t*)&(opbuff[6]) = crc;
				  CDC_Transmit_FS(&opbuff[0], 8);

			  }
			  else if(PGsend==1)
			  {
				  opbuff[0]=0x22;
				  opbuff[1]=0x30;
				  opbuff[2]=0x02;
				  opbuff[3] =(Xpos<<0)	+	(Xneg<<1)	+	(Ypos<<2)	+	(Yneg<<3)	+ 	(Zpos<<4)	+	(Zneg<<5);
				  opbuff[4]=0x00; opbuff[5]=0x00; opbuff[6]=0x00; opbuff[7]=0x00;
				  unsigned short crc = CRCcalc(opbuff,6);
				 *(int16_t*)&(opbuff[6]) = crc;
				  CDC_Transmit_FS(&opbuff[0], 8);
			  }
			  else if(spin==1)
			  {
				  spin_length= (int16_t)((rxbuf[k]) | (rxbuf[k+1]<<8));
				  xPul=spin_length;
				  xSpeed = 50U;
				  opbuff[0]=0x22;
				  opbuff[1]=0x66;
				  opbuff[2]=0x03;
				  opbuff[3]=rxbuf[k]; opbuff[4]=rxbuf[k+1]; opbuff[5]=0x00; opbuff[6]=0x00; opbuff[7]=0x00;
				  unsigned short crc= CRCcalc(opbuff,6);
				 *(int16_t*)&(opbuff[6]) = crc;
				  CDC_Transmit_FS(&opbuff[0], 8);

			  }
			  else if (solder_push==1)
			  {

				push_length= (int16_t)((rxbuf[k]) | (rxbuf[k+1]<<8));
				  yPul=push_length;
				  ySpeed = 50U;
				  opbuff[0]=0x22;
				  opbuff[1]=0x66;
				  opbuff[2]=0x04;
				  opbuff[3]=rxbuf[k]; opbuff[4]=rxbuf[k+1]; opbuff[5]=0x00; opbuff[6]=0x00; opbuff[7]=0x00;
				  unsigned short crc= CRCcalc(opbuff,6);
				 *(int16_t*)&(opbuff[6]) = crc;
				  CDC_Transmit_FS(&opbuff[0], 8);
			  }
			  rec_state=CRC8;
			  break;
		  case CRC8:
			  grating_scale_1=0;
			  grating_scale_2=0;
			  PGsend=0;
			  read=0;
			  control=0;
			  spin=0;
			  solder_push=0;

			  rec_state=START;
			  break;
		  }
	  k++;
	  }

    osDelay(1);
  }
  /* USER CODE END StartTask02 */
}

void StartTask03(void *argument)
{
  for(;;)
  {
    osDelay(1);
  }
}

void Error_Handler(void)
{
  __disable_irq();
  while (1)
  {
  }
}

/************************ (C) COPYRIGHT STMicroelectronics *****END OF FILE****/
